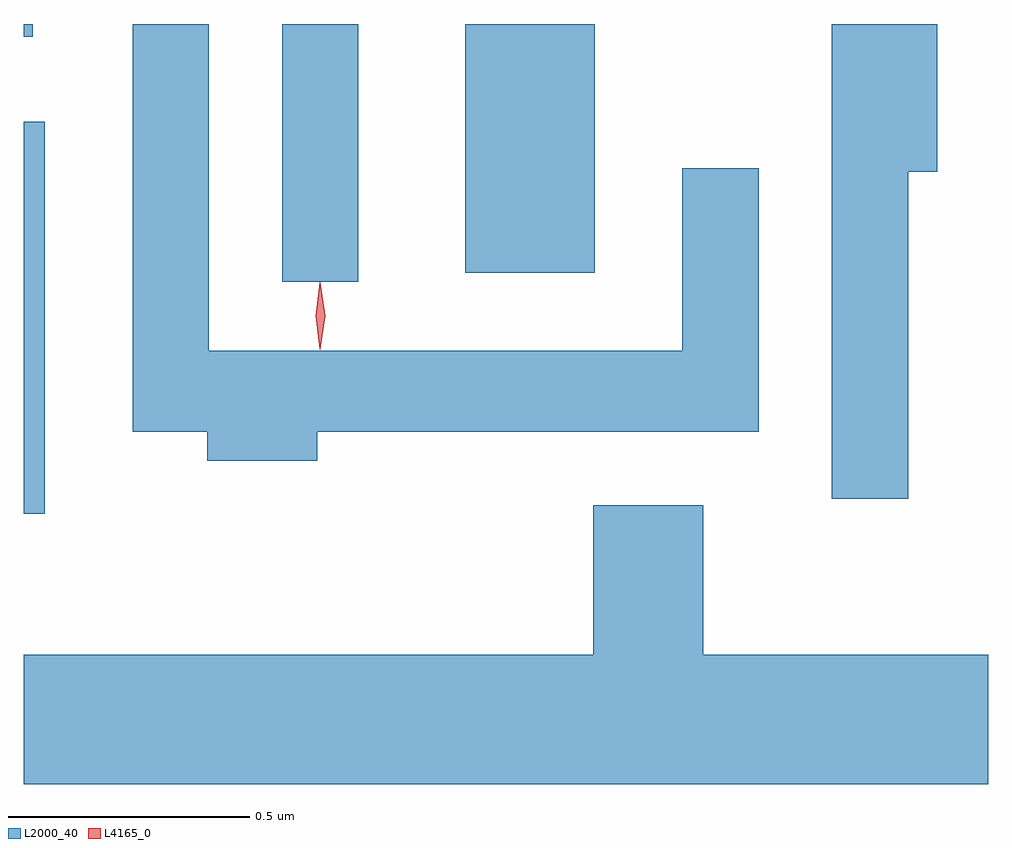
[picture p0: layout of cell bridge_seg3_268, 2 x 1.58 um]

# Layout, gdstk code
import gdstk
lib = gdstk.Library(unit=1e-6, precision=1e-09)
def R(c, l, rs):  # rectangles x0, y0, x1, y1
    for r in rs: c.add(gdstk.rectangle(r[:2], r[2:], *l))
def P(c, l, *ps):  # polygons
    for p in ps: c.add(gdstk.Polygon(p, *l))
L2000_40 = (2000, 40)
L4165_0 = (4165, 0)

bridge_seg3_268 = lib.new_cell('bridge_seg3_268')
R(bridge_seg3_268, L2000_40, [(1020.2,1117.696,1020.244,1118.509), (1020.736,1118.178,1020.894,1118.712), (1021.116,1118.196,1021.384,1118.712), (1020.2,1118.686,1020.219,1118.712)])
P(bridge_seg3_268, L2000_40, [(1022.034,1118.406),(1022.094,1118.406),(1022.094,1118.712),(1021.876,1118.712),(1021.876,1117.728),(1022.034,1117.728)],
  [(1020.809,1117.866),(1021.724,1117.866),(1021.724,1118.413),(1021.566,1118.413),(1021.566,1118.034),(1020.584,1118.034),(1020.584,1118.712),(1020.426,1118.712),(1020.426,1117.866),(1020.581,1117.866),(1020.581,1117.806),(1020.809,1117.806)],
  [(1022.2,1117.404),(1021.609,1117.404),(1021.609,1117.714),(1021.381,1117.714),(1021.381,1117.404),(1020.2,1117.404),(1020.2,1117.136),(1022.2,1117.136)])
P(bridge_seg3_268, L4165_0, [(1020.815,1118.037),(1020.814,1118.038),(1020.805,1118.107),(1020.814,1118.176),(1020.815,1118.176),(1020.815,1118.176),(1020.825,1118.107),(1020.815,1118.038)],
  [(1020.815,1118.039),(1020.814,1118.04),(1020.805,1118.106),(1020.814,1118.172),(1020.815,1118.173),(1020.815,1118.172),(1020.825,1118.106),(1020.815,1118.04)])

lib.write_gds('bridge_seg3_268.gds')
